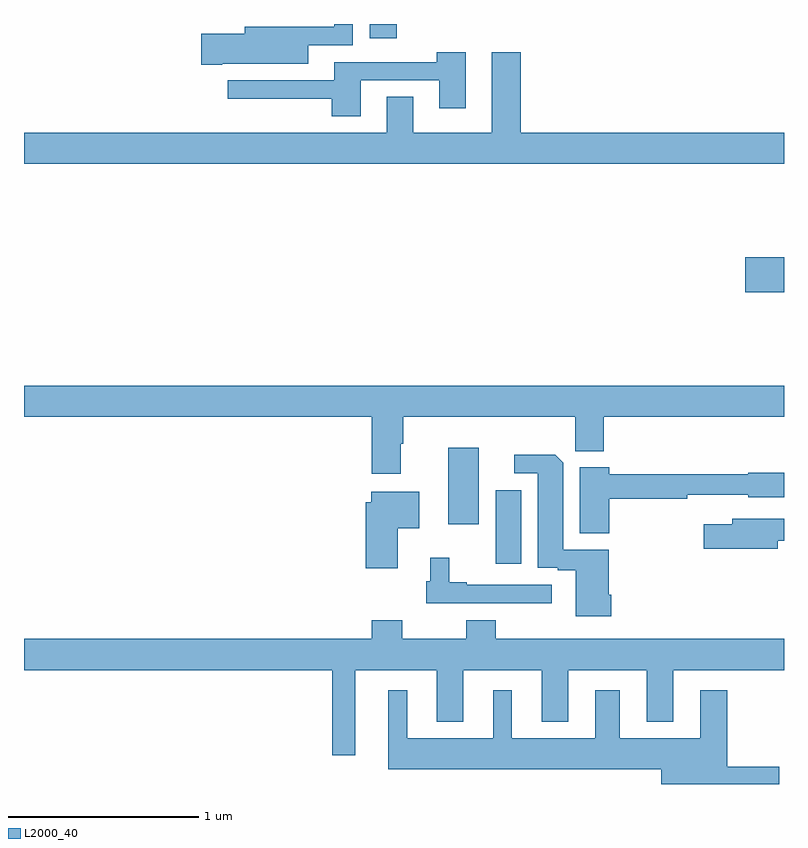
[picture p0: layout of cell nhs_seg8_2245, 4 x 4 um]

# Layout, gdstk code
import gdstk
lib = gdstk.Library(unit=1e-6, precision=1e-09)
def R(c, l, rs):  # rectangles x0, y0, x1, y1
    for r in rs: c.add(gdstk.rectangle(r[:2], r[2:], *l))
def P(c, l, *ps):  # polygons
    for p in ps: c.add(gdstk.Polygon(p, *l))
L2000_40 = (2000, 40)

nhs_seg8_2245 = lib.new_cell('nhs_seg8_2245')
R(nhs_seg8_2245, L2000_40, [(255.482,1117.058,255.616,1117.447), (255.233,1117.266,255.394,1117.669), (256.797,1118.489,257,1118.672), (254.819,1119.825,254.962,1119.9)])
P(nhs_seg8_2245, L2000_40, [(254.044,1119.692),(254.497,1119.692),(254.497,1119.789),(254.73,1119.789),(254.73,1119.9),(254.634,1119.9),(254.634,1119.885),(254.388,1119.885),(254.388,1119.886),(254.162,1119.886),(254.162,1119.85),(253.932,1119.85),(253.932,1119.685),(254.044,1119.685)],
  [(257,1119.328),(255.614,1119.328),(255.614,1119.751),(255.461,1119.751),(255.461,1119.328),(255.049,1119.328),(255.049,1119.518),(254.909,1119.518),(254.909,1119.328),(253,1119.328),(253,1119.164),(257,1119.164)],
  [(254.773,1119.603),(255.185,1119.603),(255.185,1119.456),(255.325,1119.456),(255.325,1119.751),(255.173,1119.751),(255.173,1119.699),(254.633,1119.699),(254.633,1119.603),(254.073,1119.603),(254.073,1119.506),(254.621,1119.506),(254.621,1119.414),(254.773,1119.414)],
  [(254.983,1117.691),(254.996,1117.691),(254.996,1117.832),(255.901,1117.832),(255.901,1117.651),(256.052,1117.651),(256.052,1117.832),(257,1117.832),(257,1117.996),(253,1117.996),(253,1117.832),(254.831,1117.832),(254.831,1117.533),(254.983,1117.533)],
  [(256.091,1116.895),(256.078,1116.895),(256.078,1117.134),(255.838,1117.134),(255.838,1117.592),(255.797,1117.634),(255.579,1117.634),(255.579,1117.536),(255.704,1117.536),(255.704,1117.038),(255.809,1117.038),(255.809,1117.026),(255.905,1117.026),(255.905,1116.783),(256.091,1116.783)],
  [(256.079,1117.402),(256.49,1117.402),(256.49,1117.422),(256.812,1117.422),(256.812,1117.409),(257,1117.409),(257,1117.539),(256.812,1117.539),(256.812,1117.531),(256.079,1117.531),(256.079,1117.566),(255.926,1117.566),(255.926,1117.219),(256.079,1117.219)],
  [(254.968,1117.247),(255.079,1117.247),(255.079,1117.438),(254.828,1117.438),(254.828,1117.383),(254.798,1117.383),(254.798,1117.035),(254.968,1117.035)],
  [(256.966,1117.18),(257,1117.18),(257,1117.296),(256.727,1117.296),(256.727,1117.267),(256.578,1117.267),(256.578,1117.138),(256.966,1117.138)],
  [(255.778,1116.948),(255.331,1116.948),(255.331,1116.961),(255.237,1116.961),(255.237,1117.09),(255.137,1117.09),(255.137,1116.966),(255.118,1116.966),(255.118,1116.852),(255.778,1116.852)],
  [(254.743,1116.5),(255.173,1116.5),(255.173,1116.227),(255.313,1116.227),(255.313,1116.5),(255.725,1116.5),(255.725,1116.227),(255.865,1116.227),(255.865,1116.5),(256.277,1116.5),(256.277,1116.227),(256.417,1116.227),(256.417,1116.5),(257,1116.5),(257,1116.664),(255.483,1116.664),(255.483,1116.763),(255.328,1116.763),(255.328,1116.664),(254.991,1116.664),(254.991,1116.763),(254.831,1116.763),(254.831,1116.664),(253,1116.664),(253,1116.5),(254.622,1116.5),(254.622,1116.051),(254.743,1116.051)],
  [(256.975,1115.99),(256.7,1115.99),(256.7,1116.394),(256.559,1116.394),(256.559,1116.142),(256.135,1116.142),(256.135,1116.394),(256.007,1116.394),(256.007,1116.142),(255.568,1116.142),(255.568,1116.394),(255.47,1116.394),(255.47,1116.142),(255.016,1116.142),(255.016,1116.394),(254.918,1116.394),(254.918,1115.978),(256.355,1115.978),(256.355,1115.9),(256.975,1115.9)])

lib.write_gds('nhs_seg8_2245.gds')
